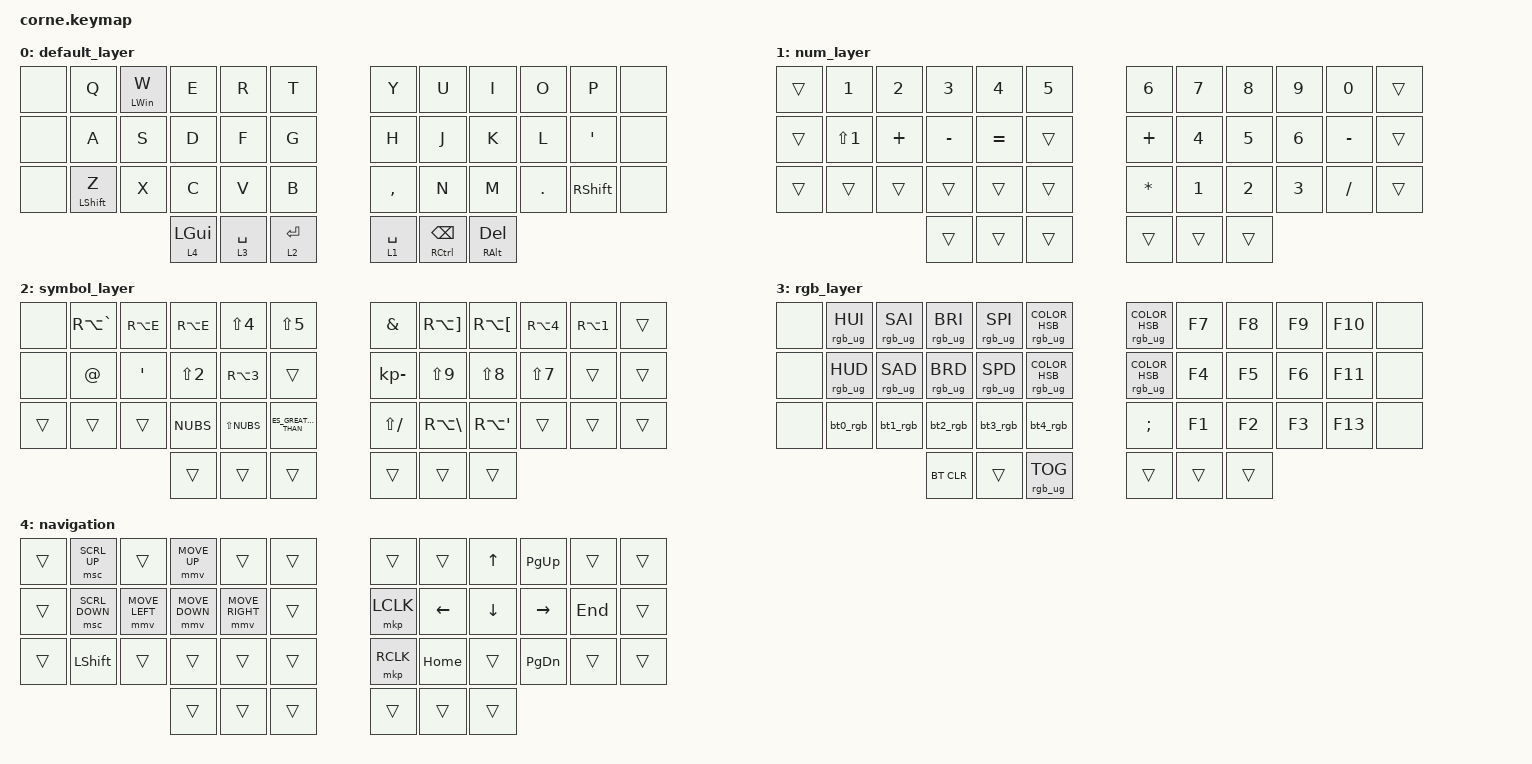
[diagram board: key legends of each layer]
/*
 * Copyright (c) 2020 The ZMK Contributors
 *
 * SPDX-License-Identifier: MIT
 */

#define ZMK_POINTING_DEFAULT_MOVE_VAL 1500  // default: 600
#define ZMK_POINTING_DEFAULT_SCRL_VAL 20    // default: 10

#include <behaviors.dtsi>
#include <dt-bindings/zmk/bt.h>
#include <dt-bindings/zmk/keys.h>
#include <dt-bindings/zmk/pointing.h>
#include <dt-bindings/zmk/rgb.h>

/*
 * https://github.com/joelspadin/zmk-locales/blob/main/include/locale/keys_es.h
 */
#include <locale/keys_es.h>

&nice_view_spi { cs-gpios = <&pro_micro 8 GPIO_ACTIVE_HIGH>; };

&led_strip { chain-length = <27>; };

/ {
    combos {
        compatible = "zmk,combos";

        combo_acute_n {
            timeout-ms = <300>; // Límite de tiempo para la secuencia
            key-positions = <22 30>; // ACUTE en pos 22, N en pos 30
            bindings = <&n_tilde>;   // Dispara macro ñ
        };

        combo_esc {
            timeout-ms = <50>;
            key-positions = <4 5>;
            bindings = <&kp ESC>;
        };

        compatible = "zmk,combos";

        combo_tab {
            timeout-ms = <50>;
            key-positions = <16 17>;
            bindings = <&kp TAB>;
        };

        compatible = "zmk,combos";

        combo_arr {
            timeout-ms = <50>;
            key-positions = <28 29>;
            bindings = <&kp RA(N2)>;
        };

        compatible = "zmk,combos";

        combo_BSPC1 {
            timeout-ms = <50>;
            key-positions = <18 19>;
            bindings = <&kp LC(BSPC)>;
        };

        compatible = "zmk,combos";

        combo_BSPC2 {
            timeout-ms = <50>;
            key-positions = <9 10>;
            bindings = <&kp BSPC>;
        };

        compatible = "zmk,combos";

        combo_num {
            timeout-ms = <50>;
            key-positions = <6 7>;
            bindings = <&tog 1>;
        };

        compatible = "zmk,combos";

        screen_toggle_reverse {
            timeout-ms = <50>;
            key-positions = <21 22>;
            bindings = <&kp LA(LS(TAB))>;
        };

        compatible = "zmk,combos";

        combo_ene2 {
            timeout-ms = <50>;
            key-positions = <30 31>;
            bindings = <&kp SEMI>;
        };

        compatible = "zmk,combos";

        combo_suspende {
            timeout-ms = <50>;
            key-positions = <14 15 16>;
            bindings = <&win_sleep>;
        };

        compatible = "zmk,combos";

        combo_blqmayus {
            timeout-ms = <50>;
            key-positions = <25 26>;
            bindings = <&kp CLCK>;
        };

        compatible = "zmk,combos";

        combo_ctrolz {
            timeout-ms = <50>;
            key-positions = <3 4>;
            bindings = <&kp LC(Z)>;
        };

        screen_toggle {
            bindings = <&kp LA(TAB)>;
            key-positions = <15 14>;
        };
    };
};

/ {
    behaviors {
        bt0_rgb: behavior_bt0_rgb {
            compatible = "zmk,behavior-macro";
            label = "BT0_RGB";
            #binding-cells = <0>;
            bindings = <&bt BT_SEL 0 &rgb_ug RGB_COLOR_HSB(300,100,5)>;
        };

        bt1_rgb: behavior_bt1_rgb {
            compatible = "zmk,behavior-macro";
            label = "BT1_RGB";
            #binding-cells = <0>;
            bindings = <&bt BT_SEL 1 &rgb_ug RGB_COLOR_HSB(180,100,5)>;
        };

        bt2_rgb: behavior_bt2_rgb {
            compatible = "zmk,behavior-macro";
            label = "BT2_RGB";
            #binding-cells = <0>;
            bindings = <&bt BT_SEL 2 &rgb_ug RGB_COLOR_HSB(0,100,5)>;
        };

        bt3_rgb: behavior_bt3_rgb {
            compatible = "zmk,behavior-macro";
            label = "BT3_RGB";
            #binding-cells = <0>;
            bindings = <&bt BT_SEL 3 &rgb_ug RGB_COLOR_HSB(120,100,5)>;
        };

        bt4_rgb: behavior_bt4_rgb {
            compatible = "zmk,behavior-macro";
            label = "BT4_RGB";
            #binding-cells = <0>;
            bindings = <&bt BT_SEL 4 &rgb_ug RGB_COLOR_HSB(45,100,5)>;
        };

        win_sleep: win_sleep {
            wait-ms = <500>;
            tap-ms = <5>;
            compatible = "zmk,behavior-macro";
            label = "WIN_SLEEP_KEY";
            #binding-cells = <0>;
            bindings = <&kp LG(X) &kp G &kp S>;
        };

        n_tilde: n_tilde {
            compatible = "zmk,behavior-macro";
            label = "ñ Macro";
            #binding-cells = <0>;
            bindings = <&kp SEMI>; // Unicode para ñ
        };

        double_ESC: double_ESC {
            compatible = "zmk,behavior-tap-dance";
            label = "DOUBLE_ESC";
            #binding-cells = <0>;
            bindings = <&kp Q>, <&kp ESC>;
        };

        pycharm_debug_run: pycharm_debug_run {
            compatible = "zmk,behavior-tap-dance";
            label = "PYCHARM_DEBUG_RUN";
            #binding-cells = <0>;
            bindings = <&kp R>, <&kp R>, <&kp LS(F10)>;
        };

        pycharm_debug: pycharm_debug {
            compatible = "zmk,behavior-tap-dance";
            label = "PYCHARM_DEBUG";
            #binding-cells = <0>;
            bindings = <&kp D>, <&kp D>, <&kp LS(F9)>;
        };
    };
};

/ {
    macros {
    };

    keymap {
        compatible = "zmk,keymap";

        default_layer {
            // -----------------------------------------------------------------------------------------
            // |   0  |  1  |  2  |  3  |  4  |  5  |         |  6  |  7   |  8  |  9  |  10  | 11 |
            // |  12  | 13  | 14  | 15  |  16 |  17 |         | 18  |  19  |  20 |  21 |  22  | 23 |
            // |  24  | 25  | 26  | 27  |  28 |  29 |         | 30  |  31  |  32 |  33 |  34  | 35 |
            //                    | 36  | 37  | 38  |         | 39  |  40  |  41 |
            // -----------------------------------------------------------------------------------------
            // |      |  Q  |  W  |  E  |  R  |  T  |         |  Y  |  U   |  I  |  O  |  P   |    |
            // |      |  A  |  S  |  D  |  F  |  G  |         |  H  |  J   |  K  |  L  |  ´   |    |
            // |      |  Z  |  X  |  C  |  V  |  B  |         |  ,  |  N   |  M  |  .  | SHFT |    |
            //                    | SHFT|SPACE|ENTER|         |SPACE| BSPC | DEL |
            //          SHFT        LR4 | LR3 | LR2 |         | LR1 | CTRL | ALT
            //  0

            bindings = <
&none  &kp Q        &mt LEFT_WIN W  &kp E       &kp R        &kp T        &kp Y        &kp U           &kp I         &kp O    &kp P      &none
&none  &kp A        &kp S           &kp D       &kp F        &kp G        &kp H        &kp J           &kp K         &kp L    &kp SQT    &none
&none  &mt LSHFT Z  &kp X           &kp C       &kp V        &kp B        &kp COMMA    &kp N           &kp M         &kp DOT  &kp RSHFT  &none
                                    &lt 4 LGUI  &lt 3 SPACE  &lt 2 RET    &lt 1 SPACE  &mt RCTRL BSPC  &mt RALT DEL
            >;
        };

        num_layer {
            // -----------------------------------------------------------------------------------------
            // |     |  1  |  2  |  3  |  4  |  5  |           |  6  |  7  |  8  |   9   |   0  |     |
            // |     |  !  |  +  |  -  |  =  |     |           |  +  |  4  |  5  |   6   |   -  |     |
            // |     |     |     |     |     |     |           |  *  |  1  |  2  |   3   |   /  |     |
            //                   |     |     |     |           |     |     |     |
            // 1

            bindings = <
&trans  &kp N1       &kp N2    &kp N3     &kp N4     &kp N5    &kp N6        &kp N7  &kp N8  &kp N9  &kp N0     &trans
&trans  &kp LS(N1)   &kp PLUS  &kp MINUS  &kp EQUAL  &trans    &kp PLUS      &kp N4  &kp N5  &kp N6  &kp MINUS  &trans
&trans  &trans       &trans    &trans     &trans     &trans    &kp ASTERISK  &kp N1  &kp N2  &kp N3  &kp SLASH  &trans
                               &trans     &trans     &trans    &trans        &trans  &trans
            >;
        };

        symbol_layer {
            // -----------------------------------------------------------------------------------------
            // |     |  \  |  @  |  €  |  $  |  %  |          |     |  ]  |  [  |  ~  |  |  |    |
            // |     |  @  |  '  |  "  |  #  |     |          |  -  |  )  |  (  |  /  |     |    |
            // |     |     |     |  <  |  >  |     |          |  _  |  }  |  {  |     |     |    |
            //             |     |     |     |     |          |     |     |
            // 2

            bindings = <
&none   &kp RA(GRAVE) &kp RA(E)         &kp RA(E)   &kp LS(N4)   &kp LS(N5)    &kp AMPERSAND   &kp RA(RBKT)  &kp RA(LBKT)  &kp RA(N4) &kp RA(N1)  &trans
&none   &kp AT_SIGN   &kp SINGLE_QUOTE  &kp LS(N2)  &kp RA(N3)   &trans        &kp KP_MINUS    &kp LS(N9)    &kp LS(N8)    &kp LS(N7) &trans      &trans
&trans  &trans        &trans            &kp NUBS    &kp LS(NUBS) &kp ES_GREATER_THAN  &kp LS(SLASH)   &kp RA(BSLH)  &kp RA(SQT)   &trans     &trans      &trans
                                        &trans      &trans       &trans        &trans          &trans        &trans
            >;
        };

        rgb_layer {
            // -----------------------------------------------------------------------------------------
            // | F1  | Tono+ |  Satura+ | Brillo+ |    |      |     |   |  F7  |  F8  |  F9  | F10  |    |
            // | F7  | Tono- |  Satura- | Brillo- |    |      |     |   |  F4  |  F5  |  F6  | F11  |    |
            // |     | BT1   |   BT2    | BT3     |BT4  | BT5 |     | ñ |  F1  |  F2  |  F3  | F12  |    |
            //                          |BTCLR    |     |     |     |   |      |      |
            // 3

            bindings = <
&none  &rgb_ug RGB_HUI  &rgb_ug RGB_SAI  &rgb_ug RGB_BRI  &rgb_ug RGB_SPI  &rgb_ug RGB_COLOR_HSB(180,100,5)    &rgb_ug RGB_COLOR_HSB(69,95,49)  &kp F7  &kp F8  &kp F9  &kp F10  &none
&none  &rgb_ug RGB_HUD  &rgb_ug RGB_SAD  &rgb_ug RGB_BRD  &rgb_ug RGB_SPD  &rgb_ug RGB_COLOR_HSB(300,100,5)    &rgb_ug RGB_COLOR_HSB(60,1,28)   &kp F4  &kp F5  &kp F6  &kp F11  &none
&none  &bt0_rgb         &bt1_rgb         &bt2_rgb         &bt3_rgb         &bt4_rgb                            &kp SEMI                         &kp F1  &kp F2  &kp F3  &kp F13  &none
                                         &bt BT_CLR       &trans           &rgb_ug RGB_TOG                     &trans                           &trans  &trans
            >;
        };

        navigation {
            // -----------------------------------------------------------------------------------------
            // |     |  \  |  @  |  €  |  $  |  %  |          |  [  |  ]  |  [  |     |  |  |    |
            // |     |  @  |  '  |  "  |  #  |     |          |  -  |  )  |  (  |  /  |     |    |
            // |     |     |     |  <  |  >  |     |          |  _  |  }  |  {  |     |     |    |
            //             |     |     |     |     |          |     |     |
            // 4

            bindings = <
&trans  &msc SCRL_UP    &trans          &mmv MOVE_UP    &trans           &trans    &trans     &trans          &kp UP_ARROW    &kp PAGE_UP      &trans   &trans
&trans  &msc SCRL_DOWN  &mmv MOVE_LEFT  &mmv MOVE_DOWN  &mmv MOVE_RIGHT  &trans    &mkp LCLK  &kp LEFT_ARROW  &kp DOWN_ARROW  &kp RIGHT_ARROW  &kp END  &trans
&trans  &kp LSHFT       &trans          &trans          &trans           &trans    &mkp RCLK  &kp HOME        &trans          &kp PAGE_DOWN    &trans   &trans
                                        &trans          &trans           &trans    &trans     &trans          &trans
            >;
        };
    };
};
